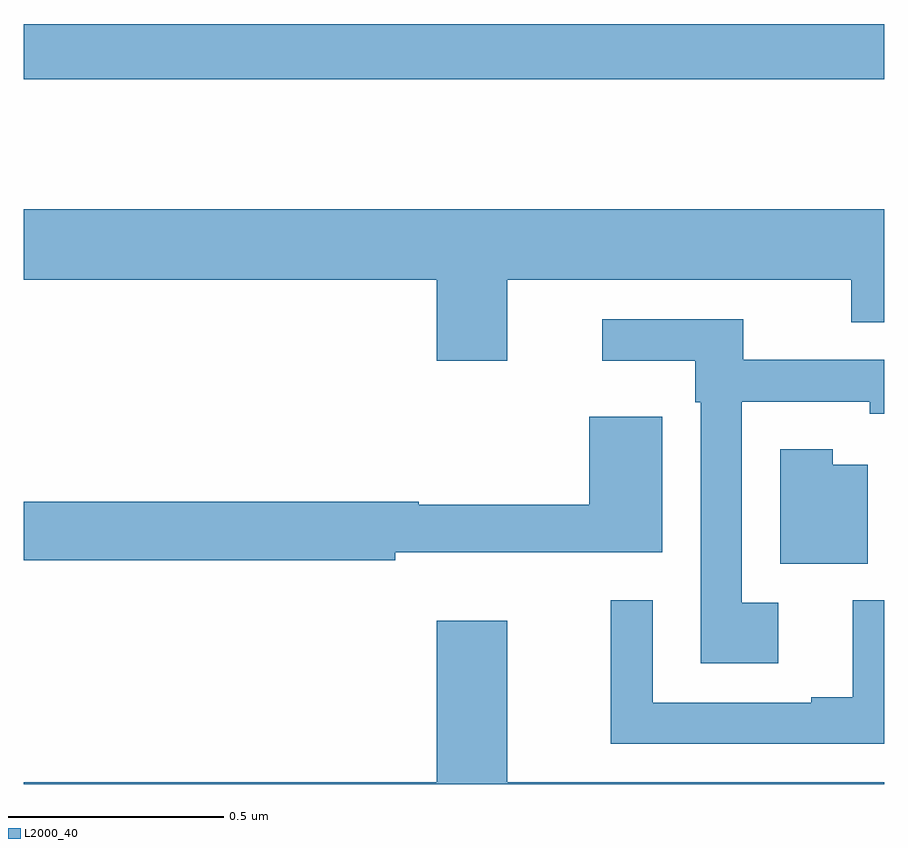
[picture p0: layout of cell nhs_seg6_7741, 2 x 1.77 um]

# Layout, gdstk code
import gdstk
lib = gdstk.Library(unit=1e-6, precision=1e-09)
def R(c, l, rs):  # rectangles x0, y0, x1, y1
    for r in rs: c.add(gdstk.rectangle(r[:2], r[2:], *l))
def P(c, l, *ps):  # polygons
    for p in ps: c.add(gdstk.Polygon(p, *l))
L2000_40 = (2000, 40)

nhs_seg6_7741 = lib.new_cell('nhs_seg6_7741')
R(nhs_seg6_7741, L2000_40, [(212,945.138,214,945.266)])
P(nhs_seg6_7741, L2000_40, [(213.124,944.672),(213.923,944.672),(213.923,944.573),(214,944.573),(214,944.836),(212,944.836),(212,944.672),(212.96,944.672),(212.96,944.484),(213.124,944.484)],
  [(213.754,943.921),(213.669,943.921),(213.669,944.388),(213.966,944.388),(213.966,944.36),(214,944.36),(214,944.486),(213.672,944.486),(213.672,944.58),(213.345,944.58),(213.345,944.483),(213.561,944.483),(213.561,944.387),(213.573,944.387),(213.573,943.781),(213.754,943.781)],
  [(212.864,944.039),(213.484,944.039),(213.484,944.353),(213.314,944.353),(213.314,944.149),(212.918,944.149),(212.918,944.156),(212,944.156),(212,944.02),(212.864,944.02)],
  [(213.961,944.242),(213.88,944.242),(213.88,944.278),(213.758,944.278),(213.758,944.012),(213.961,944.012)],
  [(214,943.927),(213.926,943.927),(213.926,943.702),(213.83,943.702),(213.83,943.689),(213.462,943.689),(213.462,943.927),(213.364,943.927),(213.364,943.593),(214,943.593)],
  [(214,943.504),(213.124,943.504),(213.124,943.879),(212.96,943.879),(212.96,943.504),(212,943.504),(212,943.5),(214,943.5)])

lib.write_gds('nhs_seg6_7741.gds')
